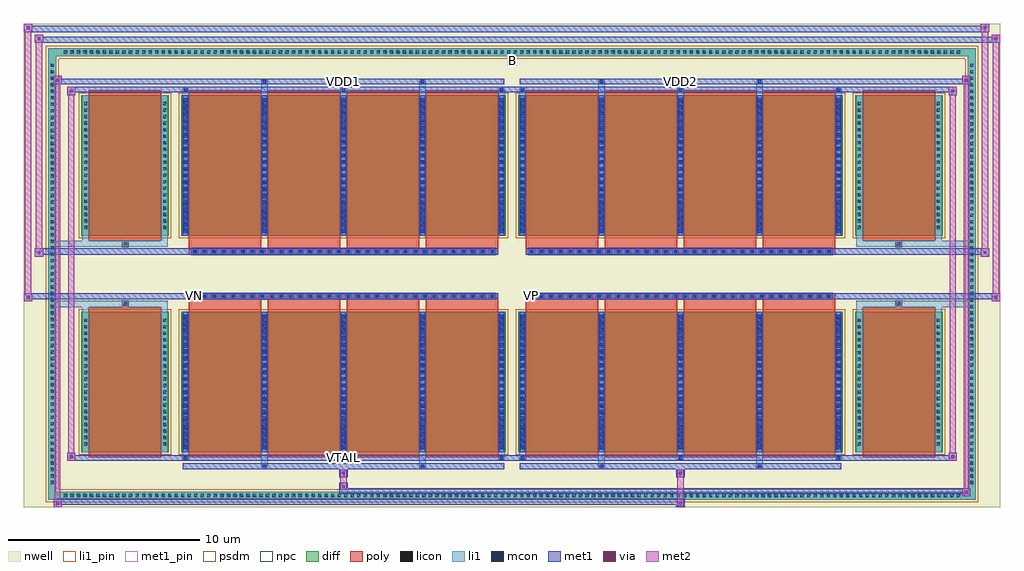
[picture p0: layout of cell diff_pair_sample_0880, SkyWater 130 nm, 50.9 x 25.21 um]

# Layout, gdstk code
import gdstk
lib = gdstk.Library(unit=1e-6, precision=5e-09)
def R(c, l, rs):  # rectangles x0, y0, x1, y1
    for r in rs: c.add(gdstk.rectangle(r[:2], r[2:], *l))
def A(c, l, x, y, w, h, nx, ny, dx, dy):  # array of equal rectangles
    R(c, l, [(x+i*dx, y+j*dy, x+i*dx+w, y+j*dy+h) for i in range(nx) for j in range(ny)])
def P(c, l, *ps):  # polygons
    for p in ps: c.add(gdstk.Polygon(p, *l))
nwell = (64, 20)
diff = (65, 20)
poly = (66, 20)
licon = (66, 44)
li1_pin = (67, 16)
li1 = (67, 20)
mcon = (67, 44)
met1_pin = (68, 16)
met1 = (68, 20)
via = (68, 44)
met2 = (69, 20)
psdm = (94, 20)
npc = (95, 20)

diff_pair_sample_0880 = lib.new_cell('diff_pair_sample_0880')
R(diff_pair_sample_0880, nwell, [(-25.45,-12.17,25.45,13.04), (-22.77,-10.36,-0.01,-0.8), (0.01,-10.36,22.77,-0.8), (-22.77,0.8,-0.01,10.36), (0.01,0.8,22.77,10.36)])
A(diff_pair_sample_0880, diff, -23.495, -11.77, 0.41, 0.41, 138, 2, 0.34, 23.13)
A(diff_pair_sample_0880, diff, -24.18, -11.085, 0.41, 0.41, 1, 65, 0, 0.34)
A(diff_pair_sample_0880, diff, 23.77, -11.085, 0.41, 0.41, 1, 65, 0, 0.34)
R(diff_pair_sample_0880, diff, [(-23.495,-11.77,23.495,-11.36), (-24.18,-11.085,-23.77,11.085), (23.77,-11.085,24.18,11.085), (-22.46,-9.315,-17.89,-1.985), (-17.25,-9.315,-0.32,-1.985), (0.32,-9.315,17.25,-1.985), (17.89,-9.315,22.46,-1.985), (-22.46,1.985,-17.89,9.315), (-17.25,1.985,-0.32,9.315), (0.32,1.985,17.25,9.315), (17.89,1.985,22.46,9.315), (-23.495,11.36,23.495,11.77)])
P(diff_pair_sample_0880, diff, [(24.18,11.77),(-24.18,11.77),(-24.18,-11.36),(-23.77,-11.36),(-23.77,11.36),(23.77,11.36),(23.77,-11.36),(-23.77,-11.36),(-24.18,-11.36),(-24.18,-11.77),(24.18,-11.77)])
A(diff_pair_sample_0880, poly, -16.86, -9.565, 3.79, 7.83, 4, 2, 4.12, 11.3)
A(diff_pair_sample_0880, poly, 0.71, -9.565, 3.79, 7.83, 4, 2, 4.12, 11.3)
A(diff_pair_sample_0880, poly, -16.86, -1.735, 3.79, 0.405, 4, 2, 4.12, 3.065)
A(diff_pair_sample_0880, poly, 0.71, -1.735, 3.79, 0.405, 4, 2, 4.12, 3.065)
A(diff_pair_sample_0880, poly, -16.7, -1.33, 0.33, 0.33, 32, 2, 0.5, 2.33)
A(diff_pair_sample_0880, poly, 0.87, -1.33, 0.33, 0.33, 32, 2, 0.5, 2.33)
R(diff_pair_sample_0880, poly, [(-22.07,-9.565,-18.28,-1.735), (18.28,-9.565,22.07,-1.735), (-20.34,-1.735,-20.01,-1.405), (-20.34,-1.735,-20.01,-1.405), (20.01,-1.735,20.34,-1.405), (20.01,-1.735,20.34,-1.405), (-16.86,-1.33,-0.71,-1), (0.71,-1.33,16.86,-1), (-16.86,1,-0.71,1.33), (0.71,1,16.86,1.33), (-20.34,1.405,-20.01,1.735), (-20.34,1.405,-20.01,1.735), (20.01,1.405,20.34,1.735), (20.01,1.405,20.34,1.735), (-22.07,1.735,-18.28,9.565), (18.28,1.735,22.07,9.565)])
A(diff_pair_sample_0880, licon, -23.375, -11.65, 0.17, 0.17, 138, 2, 0.34, 23.13)
A(diff_pair_sample_0880, licon, -24.06, -10.965, 0.17, 0.17, 1, 65, 0, 0.34)
A(diff_pair_sample_0880, licon, 23.89, -10.965, 0.17, 0.17, 1, 65, 0, 0.34)
A(diff_pair_sample_0880, licon, -22.32, -8.965, 0.17, 0.17, 1, 20, 0, 0.34)
A(diff_pair_sample_0880, licon, -18.2, -8.965, 0.17, 0.17, 1, 20, 0, 0.34)
A(diff_pair_sample_0880, licon, -17.11, -8.965, 0.17, 0.17, 5, 20, 4.12, 0.34)
A(diff_pair_sample_0880, licon, 0.46, -8.965, 0.17, 0.17, 5, 20, 4.12, 0.34)
A(diff_pair_sample_0880, licon, 18.03, -8.965, 0.17, 0.17, 1, 20, 0, 0.34)
A(diff_pair_sample_0880, licon, 22.15, -8.965, 0.17, 0.17, 1, 20, 0, 0.34)
A(diff_pair_sample_0880, licon, -16.62, -1.25, 0.17, 0.17, 32, 2, 0.5, 2.33)
A(diff_pair_sample_0880, licon, 0.95, -1.25, 0.17, 0.17, 32, 2, 0.5, 2.33)
A(diff_pair_sample_0880, licon, -22.32, 2.335, 0.17, 0.17, 1, 20, 0, 0.34)
A(diff_pair_sample_0880, licon, -18.2, 2.335, 0.17, 0.17, 1, 20, 0, 0.34)
A(diff_pair_sample_0880, licon, -17.11, 2.335, 0.17, 0.17, 5, 20, 4.12, 0.34)
A(diff_pair_sample_0880, licon, 0.46, 2.335, 0.17, 0.17, 5, 20, 4.12, 0.34)
A(diff_pair_sample_0880, licon, 18.03, 2.335, 0.17, 0.17, 1, 20, 0, 0.34)
A(diff_pair_sample_0880, licon, 22.15, 2.335, 0.17, 0.17, 1, 20, 0, 0.34)
R(diff_pair_sample_0880, licon, [(-20.26,-1.655,-20.09,-1.485), (20.09,-1.655,20.26,-1.485), (-20.26,1.485,-20.09,1.655), (20.09,1.485,20.26,1.655)])
R(diff_pair_sample_0880, li1_pin, [(-0.25,10.86,0.25,11.36)])
A(diff_pair_sample_0880, li1, -23.455, -11.73, 0.33, 0.33, 138, 2, 0.34, 23.13)
A(diff_pair_sample_0880, li1, -24.14, -11.045, 0.33, 0.33, 1, 65, 0, 0.34)
A(diff_pair_sample_0880, li1, 23.81, -11.045, 0.33, 0.33, 1, 65, 0, 0.34)
A(diff_pair_sample_0880, li1, -17.19, -9.69, 0.33, 0.375, 3, 2, 8.24, 19.005)
A(diff_pair_sample_0880, li1, -17.11, -9.69, 0.17, 0.17, 3, 2, 8.24, 19.21)
A(diff_pair_sample_0880, li1, 0.38, -9.69, 0.33, 0.375, 3, 2, 8.24, 19.005)
A(diff_pair_sample_0880, li1, 0.46, -9.69, 0.17, 0.17, 3, 2, 8.24, 19.21)
A(diff_pair_sample_0880, li1, -17.19, -9.315, 0.33, 7.33, 5, 2, 4.12, 11.3)
A(diff_pair_sample_0880, li1, 0.38, -9.315, 0.33, 7.33, 5, 2, 4.12, 11.3)
A(diff_pair_sample_0880, li1, -17.11, -9.155, 0.17, 0.17, 5, 20, 4.12, 0.36)
A(diff_pair_sample_0880, li1, -17.11, -9.155, 0.17, 7.01, 5, 2, 4.12, 11.3)
A(diff_pair_sample_0880, li1, 0.46, -9.155, 0.17, 0.17, 5, 20, 4.12, 0.36)
A(diff_pair_sample_0880, li1, 0.46, -9.155, 0.17, 7.01, 5, 2, 4.12, 11.3)
A(diff_pair_sample_0880, li1, -22.4, -9.045, 0.33, 0.33, 1, 20, 0, 0.34)
A(diff_pair_sample_0880, li1, -18.28, -9.045, 0.33, 0.33, 1, 20, 0, 0.34)
A(diff_pair_sample_0880, li1, -17.19, -9.045, 0.33, 0.33, 5, 20, 4.12, 0.34)
A(diff_pair_sample_0880, li1, 0.38, -9.045, 0.33, 0.33, 5, 20, 4.12, 0.34)
A(diff_pair_sample_0880, li1, 17.95, -9.045, 0.33, 0.33, 1, 20, 0, 0.34)
A(diff_pair_sample_0880, li1, 22.07, -9.045, 0.33, 0.33, 1, 20, 0, 0.34)
A(diff_pair_sample_0880, li1, -16.7, -1.33, 0.33, 0.33, 32, 2, 0.5, 2.33)
A(diff_pair_sample_0880, li1, 0.87, -1.33, 0.33, 0.33, 32, 2, 0.5, 2.33)
A(diff_pair_sample_0880, li1, -17.11, 2.145, 0.17, 0.17, 5, 20, 4.12, 0.36)
A(diff_pair_sample_0880, li1, 0.46, 2.145, 0.17, 0.17, 5, 20, 4.12, 0.36)
A(diff_pair_sample_0880, li1, -22.4, 2.255, 0.33, 0.33, 1, 20, 0, 0.34)
A(diff_pair_sample_0880, li1, -18.28, 2.255, 0.33, 0.33, 1, 20, 0, 0.34)
A(diff_pair_sample_0880, li1, -17.19, 2.255, 0.33, 0.33, 5, 20, 4.12, 0.34)
A(diff_pair_sample_0880, li1, 0.38, 2.255, 0.33, 0.33, 5, 20, 4.12, 0.34)
A(diff_pair_sample_0880, li1, 17.95, 2.255, 0.33, 0.33, 1, 20, 0, 0.34)
A(diff_pair_sample_0880, li1, 22.07, 2.255, 0.33, 0.33, 1, 20, 0, 0.34)
R(diff_pair_sample_0880, li1, [(-24.18,-11.77,-23.77,-11.36), (-24.18,-11.77,-23.77,-11.36), (-23.77,-11.77,23.77,-11.36), (23.77,-11.77,24.18,-11.36), (23.77,-11.77,24.18,-11.36), (-24.18,-11.36,-23.77,11.36), (23.77,-11.36,24.18,11.36), (-13.07,-10.12,-12.74,-9.315), (-12.99,-10.12,-12.82,-9.95), (-4.83,-10.12,-4.5,-9.315), (-4.75,-10.12,-4.58,-9.95), (4.5,-10.12,4.83,-9.315), (4.58,-10.12,4.75,-9.95), (12.74,-10.12,13.07,-9.315), (12.82,-10.12,12.99,-9.95), (-22.4,-9.315,-22.07,-1.985), (-18.28,-9.315,-17.95,-1.985), (17.95,-9.315,18.28,-1.985), (22.07,-9.315,22.4,-1.985), (-22.4,-1.985,-22.07,-1.405), (-18.28,-1.985,-17.95,-1.405), (17.95,-1.985,18.28,-1.405), (22.07,-1.985,22.4,-1.405), (-24.18,-1.735,-20.34,-1.405), (-22.4,-1.735,-20.34,-1.405), (-20.34,-1.735,-20.01,-1.405), (-20.01,-1.735,-17.95,-1.405), (17.95,-1.735,20.01,-1.405), (20.01,-1.735,20.34,-1.405), (20.01,-1.735,24.18,-1.405), (20.34,-1.735,22.4,-1.405), (-24.18,1.405,-20.34,1.735), (-22.4,1.405,-20.34,1.735), (-22.4,1.405,-22.07,1.985), (-20.34,1.405,-20.01,1.735), (-20.01,1.405,-17.95,1.735), (-18.28,1.405,-17.95,1.985), (17.95,1.405,20.01,1.735), (17.95,1.405,18.28,1.985), (20.01,1.405,20.34,1.735), (20.01,1.405,24.18,1.735), (20.34,1.405,22.4,1.735), (22.07,1.405,22.4,1.985), (-22.4,1.985,-22.07,9.315), (-18.28,1.985,-17.95,9.315), (17.95,1.985,18.28,9.315), (22.07,1.985,22.4,9.315), (-13.07,9.315,-12.74,10.12), (-4.83,9.315,-4.5,10.12), (4.5,9.315,4.83,10.12), (12.74,9.315,13.07,10.12), (-12.99,9.95,-12.82,10.12), (-4.75,9.95,-4.58,10.12), (4.58,9.95,4.75,10.12), (12.82,9.95,12.99,10.12), (-24.18,11.36,-23.77,11.77), (-24.18,11.36,-23.77,11.77), (-23.77,11.36,23.77,11.77), (23.77,11.36,24.18,11.77), (23.77,11.36,24.18,11.77)])
A(diff_pair_sample_0880, mcon, -17.11, -9.69, 0.17, 0.17, 3, 2, 8.24, 19.21)
A(diff_pair_sample_0880, mcon, 0.46, -9.69, 0.17, 0.17, 3, 2, 8.24, 19.21)
A(diff_pair_sample_0880, mcon, -17.11, -9.155, 0.17, 0.17, 5, 20, 4.12, 0.36)
A(diff_pair_sample_0880, mcon, 0.46, -9.155, 0.17, 0.17, 5, 20, 4.12, 0.36)
A(diff_pair_sample_0880, mcon, -16.62, -1.25, 0.17, 0.17, 32, 2, 0.5, 2.33)
A(diff_pair_sample_0880, mcon, 0.95, -1.25, 0.17, 0.17, 32, 2, 0.5, 2.33)
A(diff_pair_sample_0880, mcon, -17.11, 2.145, 0.17, 0.17, 5, 20, 4.12, 0.36)
A(diff_pair_sample_0880, mcon, 0.46, 2.145, 0.17, 0.17, 5, 20, 4.12, 0.36)
R(diff_pair_sample_0880, mcon, [(-12.99,-10.12,-12.82,-9.95), (-4.75,-10.12,-4.58,-9.95), (4.58,-10.12,4.75,-9.95), (12.82,-10.12,12.99,-9.95), (-12.99,9.95,-12.82,10.12), (-4.75,9.95,-4.58,10.12), (4.58,9.95,4.75,10.12), (12.82,9.95,12.99,10.12)])
R(diff_pair_sample_0880, met1_pin, [(-8.92,-9.73,-8.65,-9.46), (-16.67,-1.29,-16.4,-1.02), (0.9,-1.29,1.17,-1.02), (-8.92,9.91,-8.65,10.18), (8.65,9.91,8.92,10.18)])
A(diff_pair_sample_0880, met1, -17.17, -9.75, 0.29, 0.29, 3, 2, 8.24, 19.21)
A(diff_pair_sample_0880, met1, 0.4, -9.75, 0.29, 0.29, 3, 2, 8.24, 19.21)
A(diff_pair_sample_0880, met1, -17.17, -9.315, 0.29, 7.33, 5, 2, 4.12, 11.3)
A(diff_pair_sample_0880, met1, 0.4, -9.315, 0.29, 7.33, 5, 2, 4.12, 11.3)
A(diff_pair_sample_0880, met1, -17.17, -9.215, 0.29, 0.29, 5, 20, 4.12, 0.36)
A(diff_pair_sample_0880, met1, 0.4, -9.215, 0.29, 0.29, 5, 20, 4.12, 0.36)
A(diff_pair_sample_0880, met1, -16.68, -1.31, 0.29, 0.29, 32, 2, 0.5, 2.33)
A(diff_pair_sample_0880, met1, 0.89, -1.31, 0.29, 0.29, 32, 2, 0.5, 2.33)
A(diff_pair_sample_0880, met1, -17.17, 2.085, 0.29, 0.29, 5, 20, 4.12, 0.36)
A(diff_pair_sample_0880, met1, 0.4, 2.085, 0.29, 0.29, 5, 20, 4.12, 0.36)
R(diff_pair_sample_0880, met1, [(-23.91,-12.17,-23.48,-11.74), (8.57,-12.17,9,-11.74), (-23.91,-12.03,9,-11.74), (23.48,-11.6,23.91,-11.17), (-9,-11.46,23.91,-11.17), (-9,-11.32,-8.57,-10.89), (-9,-10.61,-8.57,-10.18), (8.57,-10.61,9,-10.18), (-17.17,-10.18,-0.4,-9.89), (-13.05,-10.18,-12.76,-9.89), (-4.81,-10.18,-4.52,-9.89), (0.4,-10.18,17.17,-9.89), (4.52,-10.18,4.81,-9.89), (12.76,-10.18,13.05,-9.89), (-23.2,-9.75,-22.77,-9.32), (-23.2,-9.75,-17.17,-9.46), (-17.17,-9.75,-0.4,-9.46), (-0.4,-9.75,0.4,-9.46), (0.4,-9.75,17.17,-9.46), (17.17,-9.75,23.2,-9.46), (22.77,-9.75,23.2,-9.32), (-25.45,-1.43,-25.02,-1), (25.02,-1.43,25.45,-1), (-25.45,-1.33,-0.71,-1), (-16.86,-1.33,-0.71,-1), (0.71,-1.33,16.86,-1), (0.71,-1.33,25.45,-1), (-24.88,0.9,-24.45,1.33), (24.45,0.9,24.88,1.33), (-24.88,1,-16.86,1.33), (-16.86,1,-0.71,1.33), (0.71,1,16.86,1.33), (16.86,1,24.88,1.33), (-23.2,9.32,-22.77,9.75), (22.77,9.32,23.2,9.75), (-23.2,9.46,-17.17,9.75), (-17.17,9.46,-0.4,9.75), (-0.4,9.46,0.4,9.75), (0.4,9.46,17.17,9.75), (17.17,9.46,23.2,9.75), (-23.91,9.89,-23.48,10.32), (-23.91,9.89,-17.17,10.18), (-17.17,9.89,-0.4,10.18), (-13.05,9.89,-12.76,10.18), (-4.81,9.89,-4.52,10.18), (0.4,9.89,17.17,10.18), (4.52,9.89,4.81,10.18), (12.76,9.89,13.05,10.18), (17.17,9.89,23.91,10.18), (23.48,9.89,23.91,10.32), (-24.88,12.04,-24.45,12.47), (-24.88,12.04,-22.77,12.37), (-22.77,12.04,22.77,12.37), (22.77,12.04,25.45,12.37), (25.02,12.04,25.45,12.47), (-25.45,12.61,-25.02,13.04), (-25.45,12.61,-22.77,12.94), (-22.77,12.61,22.77,12.94), (22.77,12.61,24.88,12.94), (24.45,12.61,24.88,13.04)])
R(diff_pair_sample_0880, via, [(-23.77,-12.03,-23.62,-11.88), (8.71,-12.03,8.86,-11.88), (23.62,-11.46,23.77,-11.31), (-8.86,-11.18,-8.71,-11.03), (-8.86,-10.47,-8.71,-10.32), (8.71,-10.47,8.86,-10.32), (-23.06,-9.61,-22.91,-9.46), (22.91,-9.61,23.06,-9.46), (-25.31,-1.29,-25.16,-1.14), (25.16,-1.29,25.31,-1.14), (-24.74,1.04,-24.59,1.19), (24.59,1.04,24.74,1.19), (-23.06,9.46,-22.91,9.61), (22.91,9.46,23.06,9.61), (-23.77,10.03,-23.62,10.18), (23.62,10.03,23.77,10.18), (-24.74,12.18,-24.59,12.33), (25.16,12.18,25.31,12.33), (-25.31,12.75,-25.16,12.9), (24.59,12.75,24.74,12.9)])
R(diff_pair_sample_0880, met2, [(-23.91,-12.17,-23.48,-11.74), (-23.84,-12.17,-23.55,10.32), (-23.55,-12.17,-23.48,-11.74), (-23.86,-12.12,-23.53,-11.79), (8.62,-12.12,8.95,-11.79), (8.62,-11.79,8.95,-10.56), (23.48,-11.6,23.91,-11.17), (23.55,-11.6,23.84,10.32), (23.84,-11.6,23.91,-11.17), (23.53,-11.55,23.86,-11.22), (-8.95,-11.27,-8.62,-10.94), (-8.95,-10.94,-8.62,-10.56), (-8.95,-10.56,-8.62,-10.23), (8.62,-10.56,8.95,-10.23), (-23.2,-9.75,-22.77,-9.32), (-23.13,-9.75,-22.84,9.75), (-22.84,-9.75,-22.77,-9.32), (22.77,-9.75,23.2,-9.32), (22.84,-9.75,23.13,9.75), (23.13,-9.75,23.2,-9.32), (-23.15,-9.7,-22.82,-9.37), (22.82,-9.7,23.15,-9.37), (-25.45,-1.43,-25.02,-1), (-25.4,-1.43,-25.07,13.04), (-25.07,-1.43,-25.02,-1), (25.02,-1.43,25.45,-1), (25.07,-1.43,25.4,12.47), (25.4,-1.43,25.45,-1), (-25.4,-1.38,-25.07,-1.05), (25.07,-1.38,25.4,-1.05), (-24.88,0.9,-24.45,1.33), (-24.83,0.9,-24.5,12.47), (-24.5,0.9,-24.45,1.33), (24.45,0.9,24.88,1.33), (24.5,0.9,24.83,13.04), (24.83,0.9,24.88,1.33), (-24.83,0.95,-24.5,1.28), (24.5,0.95,24.83,1.28), (-23.2,9.32,-22.77,9.75), (-22.84,9.32,-22.77,9.75), (22.77,9.32,23.2,9.75), (23.13,9.32,23.2,9.75), (-23.15,9.37,-22.82,9.7), (22.82,9.37,23.15,9.7), (-23.91,9.89,-23.48,10.32), (-23.55,9.89,-23.48,10.32), (23.48,9.89,23.91,10.32), (23.84,9.89,23.91,10.32), (-23.86,9.94,-23.53,10.27), (23.53,9.94,23.86,10.27), (-24.88,12.04,-24.45,12.47), (-24.5,12.04,-24.45,12.47), (25.02,12.04,25.45,12.47), (25.4,12.04,25.45,12.47), (-24.83,12.09,-24.5,12.42), (25.07,12.09,25.4,12.42), (-25.45,12.61,-25.02,13.04), (-25.07,12.61,-25.02,13.04), (24.45,12.61,24.88,13.04), (24.83,12.61,24.88,13.04), (-25.4,12.66,-25.07,12.99), (24.5,12.66,24.83,12.99)])
R(diff_pair_sample_0880, psdm, [(-22.59,-9.445,-17.76,-1.855), (-17.38,-9.445,-0.19,-1.855), (0.19,-9.445,17.38,-1.855), (17.76,-9.445,22.59,-1.855), (-22.59,1.855,-17.76,9.445), (-17.38,1.855,-0.19,9.445), (0.19,1.855,17.38,9.445), (17.76,1.855,22.59,9.445)])
P(diff_pair_sample_0880, psdm, [(24.31,11.9),(-24.31,11.9),(-24.31,-11.23),(-23.64,-11.23),(-23.64,11.23),(23.64,11.23),(23.64,-11.23),(-23.64,-11.23),(-24.31,-11.23),(-24.31,-11.9),(24.31,-11.9)])
A(diff_pair_sample_0880, npc, -16.72, -1.35, 0.37, 0.37, 32, 2, 0.5, 2.33)
A(diff_pair_sample_0880, npc, 0.85, -1.35, 0.37, 0.37, 32, 2, 0.5, 2.33)
R(diff_pair_sample_0880, npc, [(-20.36,-1.755,-19.99,-1.385), (19.99,-1.755,20.36,-1.385), (-16.72,-1.35,-15.85,-0.98), (-16.72,-1.35,-15.85,-0.98), (-16.22,-1.35,-15.35,-0.98), (-16.22,-1.35,-15.35,-0.98), (-15.72,-1.35,-14.85,-0.98), (-15.72,-1.35,-14.85,-0.98), (-15.22,-1.35,-14.35,-0.98), (-15.22,-1.35,-14.35,-0.98), (-14.72,-1.35,-13.85,-0.98), (-14.72,-1.35,-13.85,-0.98), (-14.22,-1.35,-13.35,-0.98), (-14.22,-1.35,-13.35,-0.98), (-13.72,-1.35,-12.85,-0.98), (-13.72,-1.35,-12.85,-0.98), (-13.22,-1.35,-12.35,-0.98), (-13.22,-1.35,-12.35,-0.98), (-12.72,-1.35,-11.85,-0.98), (-12.72,-1.35,-11.85,-0.98), (-12.22,-1.35,-11.35,-0.98), (-12.22,-1.35,-11.35,-0.98), (-11.72,-1.35,-10.85,-0.98), (-11.72,-1.35,-10.85,-0.98), (-11.22,-1.35,-10.35,-0.98), (-11.22,-1.35,-10.35,-0.98), (-10.72,-1.35,-9.85,-0.98), (-10.72,-1.35,-9.85,-0.98), (-10.22,-1.35,-9.35,-0.98), (-10.22,-1.35,-9.35,-0.98), (-9.72,-1.35,-8.85,-0.98), (-9.72,-1.35,-8.85,-0.98), (-9.22,-1.35,-8.35,-0.98), (-9.22,-1.35,-8.35,-0.98), (-8.72,-1.35,-7.85,-0.98), (-8.72,-1.35,-7.85,-0.98), (-8.22,-1.35,-7.35,-0.98), (-8.22,-1.35,-7.35,-0.98), (-7.72,-1.35,-6.85,-0.98), (-7.72,-1.35,-6.85,-0.98), (-7.22,-1.35,-6.35,-0.98), (-7.22,-1.35,-6.35,-0.98), (-6.72,-1.35,-5.85,-0.98), (-6.72,-1.35,-5.85,-0.98), (-6.22,-1.35,-5.35,-0.98), (-6.22,-1.35,-5.35,-0.98), (-5.72,-1.35,-4.85,-0.98), (-5.72,-1.35,-4.85,-0.98), (-5.22,-1.35,-4.35,-0.98), (-5.22,-1.35,-4.35,-0.98), (-4.72,-1.35,-3.85,-0.98), (-4.72,-1.35,-3.85,-0.98), (-4.22,-1.35,-3.35,-0.98), (-4.22,-1.35,-3.35,-0.98), (-3.72,-1.35,-2.85,-0.98), (-3.72,-1.35,-2.85,-0.98), (-3.22,-1.35,-2.35,-0.98), (-3.22,-1.35,-2.35,-0.98), (-2.72,-1.35,-1.85,-0.98), (-2.72,-1.35,-1.85,-0.98), (-2.22,-1.35,-1.35,-0.98), (-2.22,-1.35,-1.35,-0.98), (-1.72,-1.35,-0.85,-0.98), (-1.72,-1.35,-0.85,-0.98), (0.85,-1.35,1.72,-0.98), (0.85,-1.35,1.72,-0.98), (1.35,-1.35,2.22,-0.98), (1.35,-1.35,2.22,-0.98), (1.85,-1.35,2.72,-0.98), (1.85,-1.35,2.72,-0.98), (2.35,-1.35,3.22,-0.98), (2.35,-1.35,3.22,-0.98), (2.85,-1.35,3.72,-0.98), (2.85,-1.35,3.72,-0.98), (3.35,-1.35,4.22,-0.98), (3.35,-1.35,4.22,-0.98), (3.85,-1.35,4.72,-0.98), (3.85,-1.35,4.72,-0.98), (4.35,-1.35,5.22,-0.98), (4.35,-1.35,5.22,-0.98), (4.85,-1.35,5.72,-0.98), (4.85,-1.35,5.72,-0.98), (5.35,-1.35,6.22,-0.98), (5.35,-1.35,6.22,-0.98), (5.85,-1.35,6.72,-0.98), (5.85,-1.35,6.72,-0.98), (6.35,-1.35,7.22,-0.98), (6.35,-1.35,7.22,-0.98), (6.85,-1.35,7.72,-0.98), (6.85,-1.35,7.72,-0.98), (7.35,-1.35,8.22,-0.98), (7.35,-1.35,8.22,-0.98), (7.85,-1.35,8.72,-0.98), (7.85,-1.35,8.72,-0.98), (8.35,-1.35,9.22,-0.98), (8.35,-1.35,9.22,-0.98), (8.85,-1.35,9.72,-0.98), (8.85,-1.35,9.72,-0.98), (9.35,-1.35,10.22,-0.98), (9.35,-1.35,10.22,-0.98), (9.85,-1.35,10.72,-0.98), (9.85,-1.35,10.72,-0.98), (10.35,-1.35,11.22,-0.98), (10.35,-1.35,11.22,-0.98), (10.85,-1.35,11.72,-0.98), (10.85,-1.35,11.72,-0.98), (11.35,-1.35,12.22,-0.98), (11.35,-1.35,12.22,-0.98), (11.85,-1.35,12.72,-0.98), (11.85,-1.35,12.72,-0.98), (12.35,-1.35,13.22,-0.98), (12.35,-1.35,13.22,-0.98), (12.85,-1.35,13.72,-0.98), (12.85,-1.35,13.72,-0.98), (13.35,-1.35,14.22,-0.98), (13.35,-1.35,14.22,-0.98), (13.85,-1.35,14.72,-0.98), (13.85,-1.35,14.72,-0.98), (14.35,-1.35,15.22,-0.98), (14.35,-1.35,15.22,-0.98), (14.85,-1.35,15.72,-0.98), (14.85,-1.35,15.72,-0.98), (15.35,-1.35,16.22,-0.98), (15.35,-1.35,16.22,-0.98), (15.85,-1.35,16.72,-0.98), (15.85,-1.35,16.72,-0.98), (-16.72,0.98,-15.85,1.35), (-16.72,0.98,-15.85,1.35), (-16.22,0.98,-15.35,1.35), (-16.22,0.98,-15.35,1.35), (-15.72,0.98,-14.85,1.35), (-15.72,0.98,-14.85,1.35), (-15.22,0.98,-14.35,1.35), (-15.22,0.98,-14.35,1.35), (-14.72,0.98,-13.85,1.35), (-14.72,0.98,-13.85,1.35), (-14.22,0.98,-13.35,1.35), (-14.22,0.98,-13.35,1.35), (-13.72,0.98,-12.85,1.35), (-13.72,0.98,-12.85,1.35), (-13.22,0.98,-12.35,1.35), (-13.22,0.98,-12.35,1.35), (-12.72,0.98,-11.85,1.35), (-12.72,0.98,-11.85,1.35), (-12.22,0.98,-11.35,1.35), (-12.22,0.98,-11.35,1.35), (-11.72,0.98,-10.85,1.35), (-11.72,0.98,-10.85,1.35), (-11.22,0.98,-10.35,1.35), (-11.22,0.98,-10.35,1.35), (-10.72,0.98,-9.85,1.35), (-10.72,0.98,-9.85,1.35), (-10.22,0.98,-9.35,1.35), (-10.22,0.98,-9.35,1.35), (-9.72,0.98,-8.85,1.35), (-9.72,0.98,-8.85,1.35), (-9.22,0.98,-8.35,1.35), (-9.22,0.98,-8.35,1.35), (-8.72,0.98,-7.85,1.35), (-8.72,0.98,-7.85,1.35), (-8.22,0.98,-7.35,1.35), (-8.22,0.98,-7.35,1.35), (-7.72,0.98,-6.85,1.35), (-7.72,0.98,-6.85,1.35), (-7.22,0.98,-6.35,1.35), (-7.22,0.98,-6.35,1.35), (-6.72,0.98,-5.85,1.35), (-6.72,0.98,-5.85,1.35), (-6.22,0.98,-5.35,1.35), (-6.22,0.98,-5.35,1.35), (-5.72,0.98,-4.85,1.35), (-5.72,0.98,-4.85,1.35), (-5.22,0.98,-4.35,1.35), (-5.22,0.98,-4.35,1.35), (-4.72,0.98,-3.85,1.35), (-4.72,0.98,-3.85,1.35), (-4.22,0.98,-3.35,1.35), (-4.22,0.98,-3.35,1.35), (-3.72,0.98,-2.85,1.35), (-3.72,0.98,-2.85,1.35), (-3.22,0.98,-2.35,1.35), (-3.22,0.98,-2.35,1.35), (-2.72,0.98,-1.85,1.35), (-2.72,0.98,-1.85,1.35), (-2.22,0.98,-1.35,1.35), (-2.22,0.98,-1.35,1.35), (-1.72,0.98,-0.85,1.35), (-1.72,0.98,-0.85,1.35), (0.85,0.98,1.72,1.35), (0.85,0.98,1.72,1.35), (1.35,0.98,2.22,1.35), (1.35,0.98,2.22,1.35), (1.85,0.98,2.72,1.35), (1.85,0.98,2.72,1.35), (2.35,0.98,3.22,1.35), (2.35,0.98,3.22,1.35), (2.85,0.98,3.72,1.35), (2.85,0.98,3.72,1.35), (3.35,0.98,4.22,1.35), (3.35,0.98,4.22,1.35), (3.85,0.98,4.72,1.35), (3.85,0.98,4.72,1.35), (4.35,0.98,5.22,1.35), (4.35,0.98,5.22,1.35), (4.85,0.98,5.72,1.35), (4.85,0.98,5.72,1.35), (5.35,0.98,6.22,1.35), (5.35,0.98,6.22,1.35), (5.85,0.98,6.72,1.35), (5.85,0.98,6.72,1.35), (6.35,0.98,7.22,1.35), (6.35,0.98,7.22,1.35), (6.85,0.98,7.72,1.35), (6.85,0.98,7.72,1.35), (7.35,0.98,8.22,1.35), (7.35,0.98,8.22,1.35), (7.85,0.98,8.72,1.35), (7.85,0.98,8.72,1.35), (8.35,0.98,9.22,1.35), (8.35,0.98,9.22,1.35), (8.85,0.98,9.72,1.35), (8.85,0.98,9.72,1.35), (9.35,0.98,10.22,1.35), (9.35,0.98,10.22,1.35), (9.85,0.98,10.72,1.35), (9.85,0.98,10.72,1.35), (10.35,0.98,11.22,1.35), (10.35,0.98,11.22,1.35), (10.85,0.98,11.72,1.35), (10.85,0.98,11.72,1.35), (11.35,0.98,12.22,1.35), (11.35,0.98,12.22,1.35), (11.85,0.98,12.72,1.35), (11.85,0.98,12.72,1.35), (12.35,0.98,13.22,1.35), (12.35,0.98,13.22,1.35), (12.85,0.98,13.72,1.35), (12.85,0.98,13.72,1.35), (13.35,0.98,14.22,1.35), (13.35,0.98,14.22,1.35), (13.85,0.98,14.72,1.35), (13.85,0.98,14.72,1.35), (14.35,0.98,15.22,1.35), (14.35,0.98,15.22,1.35), (14.85,0.98,15.72,1.35), (14.85,0.98,15.72,1.35), (15.35,0.98,16.22,1.35), (15.35,0.98,16.22,1.35), (15.85,0.98,16.72,1.35), (15.85,0.98,16.72,1.35), (-20.36,1.385,-19.99,1.755), (19.99,1.385,20.36,1.755)])
diff_pair_sample_0880.add(gdstk.Label('VTAIL', (-8.785,-9.595), layer=68, texttype=5))
diff_pair_sample_0880.add(gdstk.Label('VN', (-16.535,-1.155), layer=68, texttype=5))
diff_pair_sample_0880.add(gdstk.Label('VP', (1.035,-1.155), layer=68, texttype=5))
diff_pair_sample_0880.add(gdstk.Label('B', (0,11.11), layer=67, texttype=5))
diff_pair_sample_0880.add(gdstk.Label('VDD2', (8.785,10.045), layer=68, texttype=5))
diff_pair_sample_0880.add(gdstk.Label('VDD1', (-8.785,10.045), layer=68, texttype=5))

lib.write_gds('diff_pair_sample_0880.gds')
